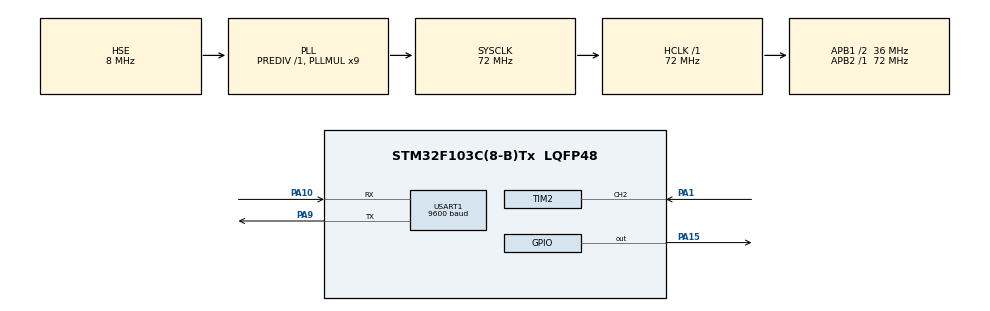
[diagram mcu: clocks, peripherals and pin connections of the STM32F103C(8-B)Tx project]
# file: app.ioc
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Mcu.Family=STM32F1
Mcu.Name=STM32F103C(8-B)Tx
Mcu.Package=LQFP48
NVIC.PriorityGroup=NVIC_PRIORITYGROUP_4
NVIC.TIM2_IRQn=true\:0\:0\:true\:false\:true\:true\:true
NVIC.USART1_IRQn=true\:0\:0\:true\:false\:true\:true\:true
PA1.Signal=S_TIM2_CH2
PA10.Mode=Asynchronous
PA10.Signal=USART1_RX
PA13.Mode=Serial_Wire
PA13.Signal=SYS_JTMS-SWDIO
PA14.Mode=Serial_Wire
PA14.Signal=SYS_JTCK-SWCLK
PA15.GPIO_Speed=GPIO_SPEED_FREQ_HIGH
PA15.Signal=GPIO_Output
PA9.Mode=Asynchronous
PA9.Signal=USART1_TX
PD0-OSC_IN.Mode=HSE-External-Oscillator
PD0-OSC_IN.Signal=RCC_OSC_IN
PD1-OSC_OUT.Mode=HSE-External-Oscillator
PD1-OSC_OUT.Signal=RCC_OSC_OUT
ProjectManager.HeapSize=0x200
ProjectManager.StackSize=0x400
ProjectManager.TargetToolchain=MDK-ARM V5
RCC.AHBFreq_Value=72000000
RCC.APB1CLKDivider=RCC_HCLK_DIV2
RCC.APB1Freq_Value=36000000
RCC.APB1TimFreq_Value=72000000
RCC.APB2Freq_Value=72000000
RCC.APB2TimFreq_Value=72000000
RCC.HCLKFreq_Value=72000000
RCC.PLLMUL=RCC_PLL_MUL9
RCC.PLLSourceVirtual=RCC_PLLSOURCE_HSE
RCC.SYSCLKFreq_VALUE=72000000
RCC.SYSCLKSource=RCC_SYSCLKSOURCE_PLLCLK
RCC.USBFreq_Value=72000000
SH.S_TIM2_CH2.0=TIM2_CH2,Input_Capture2_from_TI2
TIM2.Channel-Input_Capture2_from_TI2=TIM_CHANNEL_2
TIM2.ICFilter_CH2=5
TIM2.ICPolarity_CH2=TIM_INPUTCHANNELPOLARITY_FALLING
TIM2.Period=65535
TIM2.Prescaler=7199
TIM2.TIM_MasterOutputTrigger=TIM_TRGO_UPDATE
USART1.BaudRate=9600
USART1.VirtualMode=VM_ASYNC
VP_TIM2_VS_ClockSourceINT.Mode=Internal
board=custom

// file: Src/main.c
/* USER CODE BEGIN Header */
/**
  ******************************************************************************
  * @file           : main.c
  * @brief          : Main program body
  ******************************************************************************
  * @attention
  *
  * <h2><center>&copy; Copyright (c) 2019 STMicroelectronics.
  * All rights reserved.</center></h2>
  *
  * This software component is licensed by ST under BSD 3-Clause license,
  * the "License"; You may not use this file except in compliance with the
  * License. You may obtain a copy of the License at:
  *                        opensource.org/licenses/BSD-3-Clause
  *
  ******************************************************************************
  */
/* USER CODE END Header */

#include "main.h"
#include "tim.h"
#include "usart.h"
#include "gpio.h"

/* USER CODE BEGIN Includes */
#include <stdio.h>
/* USER CODE END Includes */

/* USER CODE BEGIN PV */
uint8_t ir[4], flag, lianfa, xx;
/* USER CODE END PV */

void SystemClock_Config(void);

/* USER CODE BEGIN 0 */
int fputc(int ch, FILE *f)
{
    HAL_UART_Transmit(&huart1, (uint8_t *)&ch,1, 0xFFFF);
    return ch;
}
int fgetc(FILE *f)
{
  uint8_t  ch;
    HAL_UART_Receive(&huart1,(uint8_t *)&ch, 1, 0xFFFF);
    return  ch;
}
/* USER CODE END 0 */

int main(void)
{

  /* MCU Configuration--------------------------------------------------------*/

  /* Reset of all peripherals, Initializes the Flash interface and the Systick. */
  HAL_Init();

  /* Configure the system clock */
  SystemClock_Config();

  /* Initialize all configured peripherals */
  MX_GPIO_Init();
  MX_TIM2_Init();
  MX_USART1_UART_Init();
  /* USER CODE BEGIN 2 */
	HAL_TIM_Base_Start_IT(&htim2);
	if(HAL_TIM_IC_Start_IT(&htim2,TIM_CHANNEL_2) != HAL_OK){
		printf("IC Start it error\n");
		Error_Handler();
	}
  /* USER CODE END 2 */

  /* Infinite loop */
  while (1)
  {

    /* USER CODE BEGIN 3 */
		flag = 0;
		while(1){
			if(ir[2] == 0x1c &&ir[3] == 0xe3 ){

				HAL_GPIO_WritePin(GPIOA,GPIO_PIN_15,GPIO_PIN_SET);

				flag = 1;

			}else{
				HAL_GPIO_WritePin(GPIOA,GPIO_PIN_15,GPIO_PIN_RESET);
				flag = 0;

		}
		if(flag == 1){
					if(ir[2] == 0x16 && ir[3] == 0xe9){
						HAL_GPIO_WritePin(GPIOA,GPIO_PIN_15,GPIO_PIN_SET);
						HAL_Delay(20);
						HAL_GPIO_WritePin(GPIOA,GPIO_PIN_15,GPIO_PIN_RESET);
						HAL_Delay(20);

					}
					if(ir[2] == 0x19 && ir[3] == 0xe6){
						HAL_GPIO_WritePin(GPIOA,GPIO_PIN_15,GPIO_PIN_SET);
						HAL_Delay(2000);
						HAL_GPIO_WritePin(GPIOA,GPIO_PIN_15,GPIO_PIN_RESET);
						HAL_Delay(2000);

					}
					if(ir[2] == 0x18 && ir[3] == 0xe7){
						HAL_GPIO_WritePin(GPIOA,GPIO_PIN_15,GPIO_PIN_SET);
						HAL_Delay(200);
						HAL_GPIO_WritePin(GPIOA,GPIO_PIN_15,GPIO_PIN_RESET);
						HAL_Delay(2000);
						HAL_GPIO_WritePin(GPIOA,GPIO_PIN_15,GPIO_PIN_SET);
						HAL_Delay(200);

					}
				}
		}
  }
  /* USER CODE END 3 */
}

void SystemClock_Config(void)
{
  RCC_OscInitTypeDef RCC_OscInitStruct = {0};
  RCC_ClkInitTypeDef RCC_ClkInitStruct = {0};

  /** Initializes the CPU, AHB and APB busses clocks
  */
  RCC_OscInitStruct.OscillatorType = RCC_OSCILLATORTYPE_HSE;
  RCC_OscInitStruct.HSEState = RCC_HSE_ON;
  RCC_OscInitStruct.HSEPredivValue = RCC_HSE_PREDIV_DIV1;
  RCC_OscInitStruct.HSIState = RCC_HSI_ON;
  RCC_OscInitStruct.PLL.PLLState = RCC_PLL_ON;
  RCC_OscInitStruct.PLL.PLLSource = RCC_PLLSOURCE_HSE;
  RCC_OscInitStruct.PLL.PLLMUL = RCC_PLL_MUL9;
  if (HAL_RCC_OscConfig(&RCC_OscInitStruct) != HAL_OK)
  {
    Error_Handler();
  }
  /** Initializes the CPU, AHB and APB busses clocks
  */
  RCC_ClkInitStruct.ClockType = RCC_CLOCKTYPE_HCLK|RCC_CLOCKTYPE_SYSCLK
                              |RCC_CLOCKTYPE_PCLK1|RCC_CLOCKTYPE_PCLK2;
  RCC_ClkInitStruct.SYSCLKSource = RCC_SYSCLKSOURCE_PLLCLK;
  RCC_ClkInitStruct.AHBCLKDivider = RCC_SYSCLK_DIV1;
  RCC_ClkInitStruct.APB1CLKDivider = RCC_HCLK_DIV2;
  RCC_ClkInitStruct.APB2CLKDivider = RCC_HCLK_DIV1;

  if (HAL_RCC_ClockConfig(&RCC_ClkInitStruct, FLASH_LATENCY_2) != HAL_OK)
  {
    Error_Handler();
  }
}

void Error_Handler(void)
{
}

/************************ (C) COPYRIGHT STMicroelectronics *****END OF FILE****/
